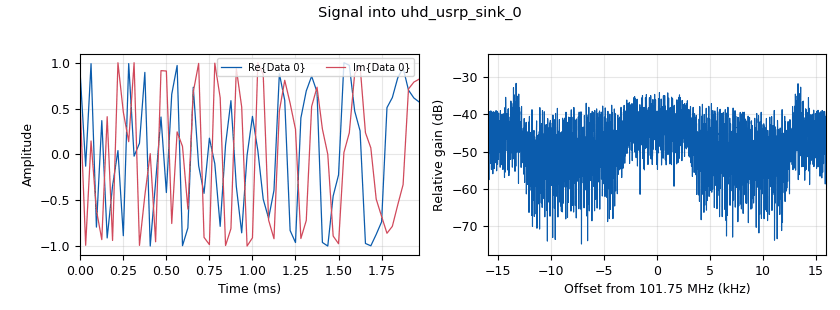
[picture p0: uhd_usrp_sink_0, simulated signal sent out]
options:
  parameters:
    author: Priyanshi
    generate_options: qt_gui
    id: happyy
    output_language: python
    title: Not titled yet
  states: {}

blocks:
- name: samp_rate
  id: variable
  parameters:
    value: '32000'
  states: {}
- name: analog_wfm_tx_0
  id: analog_wfm_tx
  parameters:
    audio_rate: samp_rate
    fh: '-1.0'
    max_dev: 75e3
    quad_rate: 4*samp_rate
    tau: '75e-6'
  states: {}
- name: blocks_repeat_0
  id: blocks_repeat
  parameters:
    interp: '9600'
    type: float
  states: {}
- name: blocks_vco_f_0
  id: blocks_vco_f
  parameters:
    amplitude: '1'
    samp_rate: '32000'
    sensitivity: '6.28'
  states: {}
- name: blocks_vector_source_x_0
  id: blocks_vector_source_x
  parameters:
    repeat: 'True'
    type: float
    vector: (329.63,311.13,329.63,311.13,329.63,246.94,293.66,261.63,220,220,220,146.83,174.61,220,246.94,246.94,246.94,174.61,233.08,246.94,261.63,261.63,261.63,329.63,311.13,329.63,246.94,293.66,261.63,220,220,220,146.83,174.61,220,246.94,174.61,261.63,246.94,220,220,220,246.94,261.63,293.66,329.63,329.63,329.63,196,349.23, 329.23, 293.63, 293.63, 293.63, 164.81, 329.63, 293.63, 261.63, 261.63, 261.63, 146.83, 293.63, 261.63, 246.94, 246.94, 246.94, 329.63, 311.13, 329.63, 246.94, 293.66, 261.63, 220, 220, 220, 146.83, 174.61, 220, 246.94,174.61, 233.08, 246.94, 261.63, 261.63, 261.63, 329.63, 311.13, 329.63, 311.13, 329.63, 246.94, 293.66, 261.63, 220, 220, 220, 146.83, 174.61, 220, 246.94, 246.94, 246.94, 174.61, 261.63, 246.94, 220, 220, 220)
  states: {}
- name: uhd_usrp_sink_0
  id: uhd_usrp_sink
  parameters:
    ant0: TX/RX
    bw0: 150e3
    center_freq0: ' 101.75e6'
    clock_source0: gpsdo
    dev_args: '""'
    gain0: '0'
    len_tag_name: ''
    norm_gain0: 'False'
    samp_rate: samp_rate
    sync: pc_clock
    type: fc32
  states: {}

connections:
- [analog_wfm_tx_0, '0', uhd_usrp_sink_0, '0']
- [blocks_repeat_0, '0', blocks_vco_f_0, '0']
- [blocks_vco_f_0, '0', analog_wfm_tx_0, '0']
- [blocks_vector_source_x_0, '0', blocks_repeat_0, '0']

metadata:
  file_format: 1
